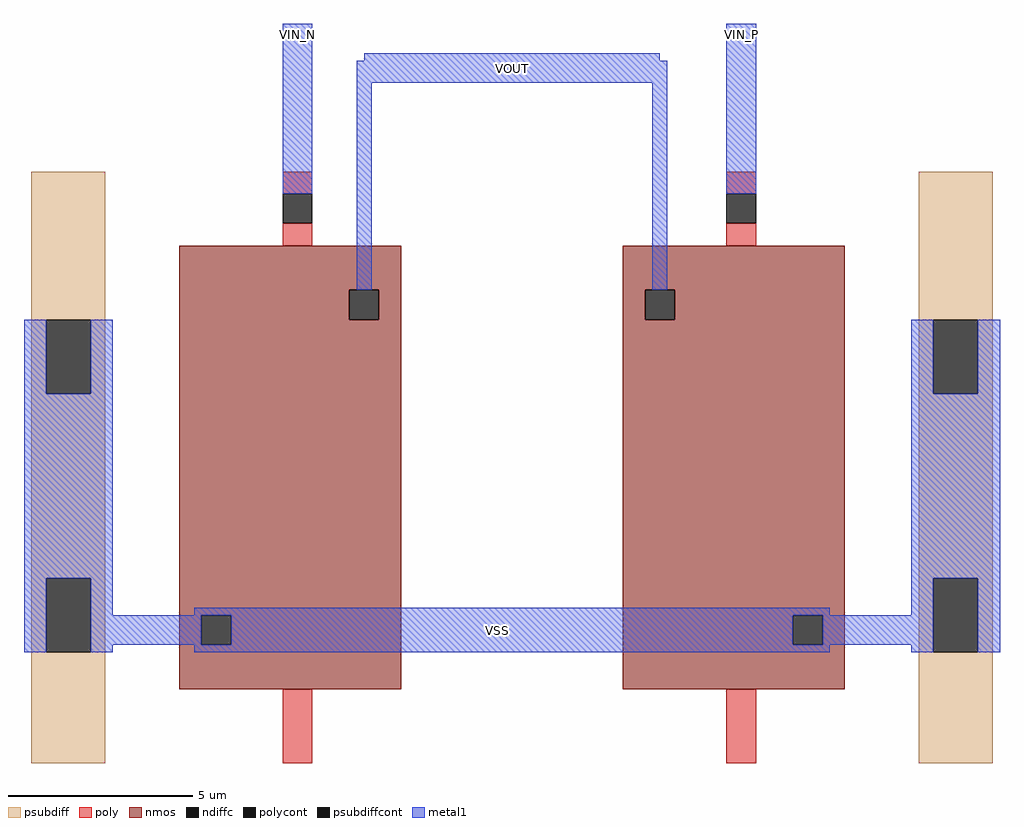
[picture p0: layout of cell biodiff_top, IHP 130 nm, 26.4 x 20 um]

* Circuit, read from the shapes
.subckt biodiff_top VIN_N VIN_P VOUT VSS
XM1 VSS VIN_N VOUT VSS sg13_lv_nmos w=3.2u l=22.1u
XM2 VSS VIN_P VOUT VSS sg13_lv_nmos w=3.2u l=22.1u
.ends

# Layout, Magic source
magic
tech ihp-sg13g2
<< nmos >>
rect 600 2080 1200 2200
rect 600 2000 1060 2080
rect 1140 2000 1200 2080
rect 600 1200 1200 2000
rect 600 1120 660 1200
rect 740 1120 1200 1200
rect 600 1000 1200 1120
rect 1800 2080 2400 2200
rect 1800 2000 1860 2080
rect 1940 2000 2400 2080
rect 1800 1200 2400 2000
rect 1800 1120 2260 1200
rect 2340 1120 2400 1200
rect 1800 1000 2400 1120
<< ndiffc >>
rect 1060 2000 1140 2080
rect 660 1120 740 1200
rect 1860 2000 1940 2080
rect 2260 1120 2340 1200
<< psubdiff >>
rect 200 2000 400 2400
rect 200 1800 240 2000
rect 360 1800 400 2000
rect 200 1300 400 1800
rect 200 1100 240 1300
rect 360 1100 400 1300
rect 200 800 400 1100
rect 2600 2000 2800 2400
rect 2600 1800 2640 2000
rect 2760 1800 2800 2000
rect 2600 1300 2800 1800
rect 2600 1100 2640 1300
rect 2760 1100 2800 1300
rect 2600 800 2800 1100
<< psubdiffcont >>
rect 240 1800 360 2000
rect 240 1100 360 1300
rect 2640 1800 2760 2000
rect 2640 1100 2760 1300
<< poly >>
rect 880 2340 960 2400
rect 880 2200 960 2260
rect 2080 2340 2160 2400
rect 2080 2200 2160 2260
rect 880 800 960 1000
rect 2080 800 2160 1000
<< polycont >>
rect 880 2260 960 2340
rect 2080 2260 2160 2340
<< metal1 >>
rect 880 2340 960 2800
rect 1100 2700 1900 2720
rect 1080 2640 1920 2700
rect 1080 2080 1120 2640
rect 1880 2080 1920 2640
rect 2080 2340 2160 2800
rect 180 1800 240 2000
rect 360 1800 420 2000
rect 180 1300 420 1800
rect 180 1100 240 1300
rect 360 1200 420 1300
rect 2580 1800 2640 2000
rect 2760 1800 2820 2000
rect 2580 1300 2820 1800
rect 640 1200 2360 1220
rect 2580 1200 2640 1300
rect 360 1120 660 1200
rect 740 1120 2260 1200
rect 2340 1120 2640 1200
rect 360 1100 420 1120
rect 640 1100 2360 1120
rect 2580 1100 2640 1120
rect 2760 1100 2820 1300
<< labels >>
rlabel metal1 890 2740 950 2800 1 VIN_N
port 1 n
rlabel metal1 2090 2740 2150 2800 1 VIN_P
port 2 n
rlabel metal1 1450 2650 1550 2710 1 VOUT
port 3 n
rlabel metal1 1400 1130 1520 1190 5 VSS
port 4 s
<< end >>
